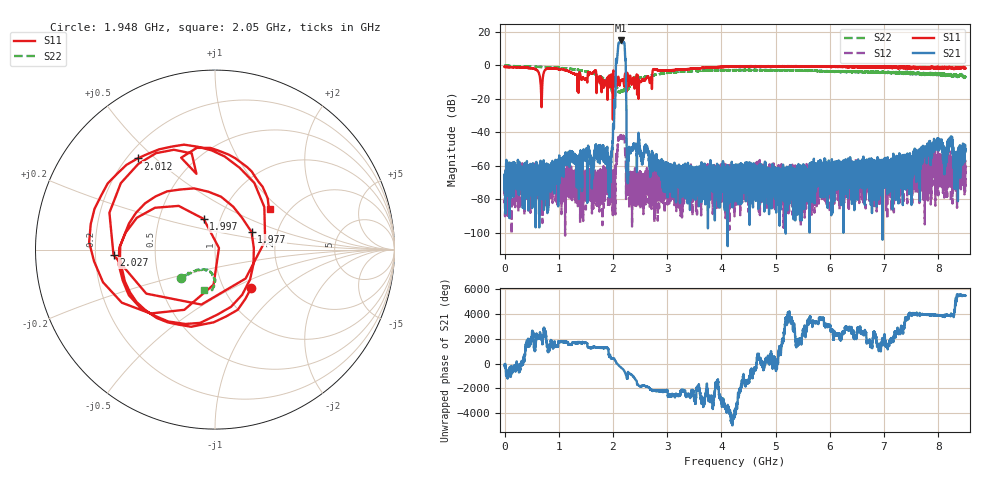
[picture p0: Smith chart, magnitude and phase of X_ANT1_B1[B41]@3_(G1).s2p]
#  HZ  S  RI  R  50.00
! Rohde & Schwarz Vector Network Analyzer
! Rohde-Schwarz,ZNBT8-20Port,1318700624101681,3.50
! Created: UTC 7/15/2025, 2:10:52 PM
! freq[Hz]  re:S1010  im:S1010  re:S0310  im:S0310  re:S1003  im:S1003  re:S33  im:S33
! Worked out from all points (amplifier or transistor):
!   8500 points, 1 MHz to 8.5 GHz, reference 50 ohm
!   highest |S21| = 14.9 dB at 2.144 GHz (marker M1)
!   |S21| within 3 dB of that: 2.095 GHz to 2.215 GHz (120 MHz wide, 5.57 % of centre)
!   unconditionally stable (mu >= 1): start of sweep to end of sweep
!   at 1.417 GHz: K = 234671.14, MAG = -50.9 dB, |S12| = -66.3 dB
!   at 4.251 GHz: K = 174042.68, MAG = -54.9 dB, |S12| = -67.7 dB
!   at 8.5 GHz: K = 206840.65, MAG = -44.8 dB, |S12| = -73.2 dB
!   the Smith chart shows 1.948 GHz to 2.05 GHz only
!   S11 on the Smith chart (normalised r, x): 1.948 GHz: 1.34, -0.62; 1.977 GHz: 1.47, +0.31; 1.997 GHz: 0.83, +0.30; 2.012 GHz: 0.24, +0.44; 2.027 GHz: 0.28, -0.02; 2.05 GHz: 1.60, +0.84
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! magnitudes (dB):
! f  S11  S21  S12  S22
! 1 MHz  -0.9  -71.2  -69.9  -0.2
! 1.418 GHz  -8.6  -56.9  -66.1  -3.0
! 1.948 GHz  -10.7  -56.3  -63.6  -12.2
! 1.977 GHz  -12.9  -52.7  -67.3  -15.1
! 1.997 GHz  -14.8  -45.1  -67.4  -18.0
! 2.012 GHz  -3.5  -36.5  -73.6  -17.2
! 2.027 GHz  -4.9  -20.5  -79.3  -14.2
! 2.05 GHz  -8.5  -8.8  -65.2  -12.5
! 2.093 GHz  -7.2  11.2  -45.9  -15.4
! 2.144 GHz  -8.9  14.9  -41.9  -15.7
! 2.205 GHz  -12.2  13.6  -43.3  -14.5
! 2.292 GHz  -11.2  -51.4  -68.4  -13.3
! 2.452 GHz  -7.0  -51.6  -68.8  -7.1
! 2.834 GHz  -2.8  -58.1  -62.8  -5.3
! 4.251 GHz  -0.7  -66.7  -67.7  -2.8
! 5.667 GHz  -0.4  -62.0  -75.5  -3.2
! 7.084 GHz  -0.9  -69.2  -59.0  -4.0
! 8.025 GHz  -1.3  -44.3  -57.2  -5.3
! 8.129 GHz  -1.5  -58.7  -67.2  -5.7
! 8.229 GHz  -1.5  -43.8  -55.2  -5.7
! 8.324 GHz  -1.4  -57.3  -53.8  -6.0
! 8.5 GHz  -1.9  -50.4  -73.2  -6.4
